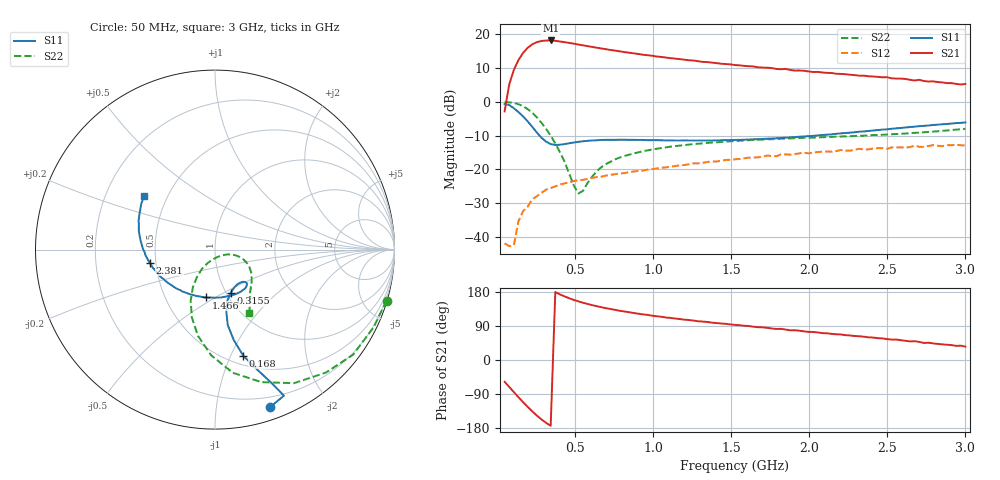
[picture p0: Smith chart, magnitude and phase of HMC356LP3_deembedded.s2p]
!Hittite Microwave Corporation
!12 Elizabeth Drive
!Chelmsford, MA 01824
!Tel: 978-250-3343
!Fax: 978-250-3373
!Device: HMC356LP3, 350-550 MHz, GaAs PHEMT MMIC Low Noise Amplifier in leadless QFN SMT package
!Misc: Vs = 5V, data is deembedded to the pins of the device, Room
# MHZ S MA R 50
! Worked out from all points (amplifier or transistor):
!   101 points, 50 MHz to 3 GHz, reference 50 ohm
!   highest |S21| = 18.2 dB at 345 MHz (marker M1)
!   |S21| within 3 dB of that: 181.6 MHz to 757.1 MHz (575.5 MHz wide, 123 % of centre)
!   unconditionally stable (mu >= 1): 76.62 MHz to 2.054 GHz
!   at 522 MHz: K = 1.19, MAG = 17.5 dB, |S12| = -23.2 dB
!   at 1.525 GHz: K = 1.09, MAG = 12.2 dB, |S12| = -17.0 dB
!   at 3 GHz: K = 0.78, MSG = 9.1 dB, |S12| = -12.9 dB
!   S11 on the Smith chart (normalised r, x): 50 MHz: 0.11, -1.40; 168 MHz: 0.59, -1.11; 315.5 MHz: 1.04, -0.54; 1.466 GHz: 0.79, -0.46; 2.381 GHz: 0.46, -0.08; 3 GHz: 0.37, +0.29
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50  0.93 -70.8  0.722 -57.5  0.007994 -55.4  0.997 -16.5
79.5  0.9 -64.7  1.813 -71.0  0.007286 172.3  0.984 -26.0
109  0.806 -67.1  2.97 -84.6  0.007506 137.6  0.967 -37.2
138.5  0.708 -70.6  4.167 -98.1  0.017 141.0  0.923 -47.9
168  0.611 -75.1  5.318 -111.2  0.024 130.6  0.865 -59.4
197.5  0.515 -78.3  6.322 -123.5  0.028 122.3  0.782 -70.8
227  0.427 -80.4  7.127 -135.4  0.036 115.2  0.693 -81.8
256.5  0.352 -79.7  7.682 -146.7  0.04 106.9  0.59 -92.0
286  0.294 -76.6  7.985 -156.8  0.045 100.1  0.49 -101.2
315.5  0.258 -70.4  8.116 -165.6  0.05 95.5  0.399 -108.9
345  0.237 -63.2  8.133 -173.7  0.053 90.3  0.316 -115.4
433.5  0.237 -49.3  7.666 167.9  0.062 80.2  0.131 -124.1
492.5  0.25 -46.6  7.291 158.6  0.067 76.1  0.058 -105.2
551.5  0.261 -47.1  6.885 151.2  0.07 73.2  0.048 -43.0
758  0.274 -56.3  5.754 132.3  0.085 67.7  0.141 -16.5
1053  0.27 -73.6  4.635 114.1  0.106 63.6  0.207 -25.5
1466  0.271 -100.3  3.639 95.4  0.138 58.6  0.258 -37.5
1525  0.273 -104.5  3.513 92.7  0.141 57.9  0.263 -39.1
2026.5  0.314 -141.3  2.772 73.9  0.178 50.2  0.296 -47.9
2380.5  0.371 -168.7  2.395 59.7  0.198 43.7  0.318 -52.2
2528  0.4 179.9  2.233 53.8  0.212 40.6  0.332 -53.9
3000  0.496 143.0  1.845 35.3  0.226 28.5  0.399 -62.0
